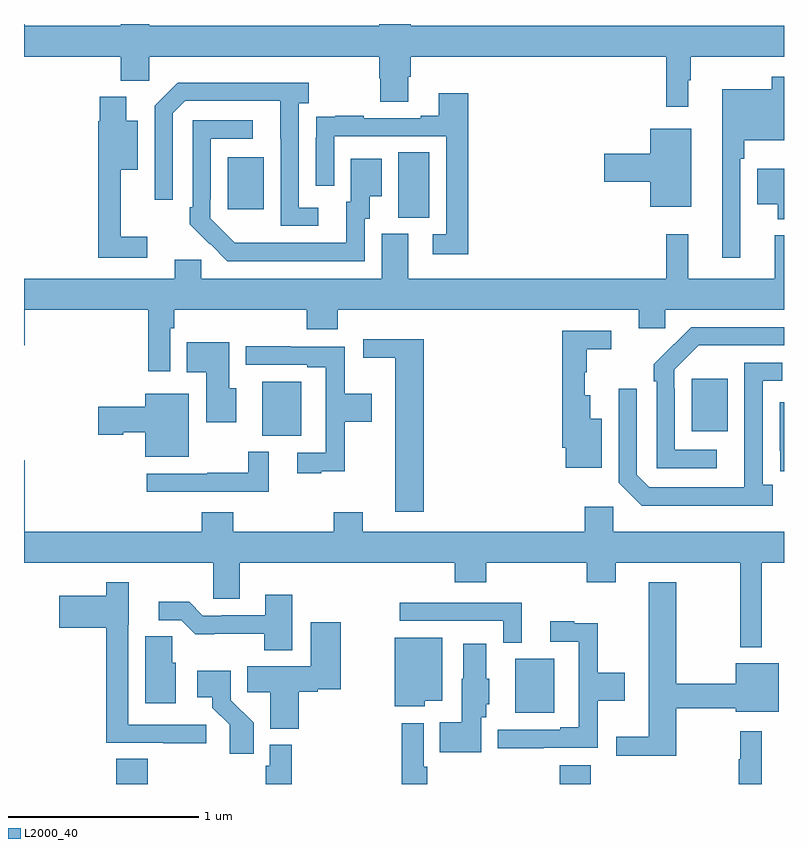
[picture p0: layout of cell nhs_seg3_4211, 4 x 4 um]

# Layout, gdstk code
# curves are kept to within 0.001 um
import gdstk
lib = gdstk.Library(unit=1e-6, precision=1e-09)
def R(c, l, rs):  # rectangles x0, y0, x1, y1
    for r in rs: c.add(gdstk.rectangle(r[:2], r[2:], *l))
def P(c, l, *ps):  # polygons
    for p in ps: c.add(gdstk.Polygon(p, *l))
L2000_40 = (2000, 40)

nhs_seg3_4211 = lib.new_cell('nhs_seg3_4211')
R(nhs_seg3_4211, L2000_40, [(333.485,718.4,333.65,718.532), (335.819,718.4,335.984,718.498), (335.585,718.775,335.791,719.059), (334.253,720.233,334.459,720.517), (336.515,720.257,336.703,720.532), (334.97,721.381,335.134,721.724), (334.073,721.425,334.261,721.699)])
P(nhs_seg3_4211, L2000_40, [(336.496,722.105),(336.508,722.105),(336.508,722.228),(337,722.228),(337,722.392),(335.036,722.392),(335.036,722.4),(334.871,722.4),(334.871,722.392),(333.66,722.392),(333.66,722.4),(333.509,722.4),(333.509,722.392),(333.004,722.392),(333.004,722.4),(333,722.4),(333,722.228),(333.509,722.228),(333.509,722.102),(333.66,722.102),(333.66,722.228),(334.871,722.228),(334.871,722.115),(334.876,722.115),(334.876,721.99),(335.023,721.99),(335.023,722.122),(335.036,722.122),(335.036,722.228),(336.379,722.228),(336.379,721.965),(336.496,721.965)],
  [(336.771,721.691),(336.791,721.691),(336.791,721.787),(337,721.787),(337,722.122),(336.936,722.122),(336.936,722.056),(336.674,722.056),(336.674,721.17),(336.771,721.17)],
  [(334.549,721.434),(334.446,721.434),(334.446,721.982),(334.498,721.982),(334.498,722.092),(333.808,722.092),(333.687,721.971),(333.687,721.476),(333.783,721.476),(333.783,721.929),(333.849,721.995),(334.349,721.995),(334.35,721.338),(334.549,721.338)],
  [(335.339,722.035),(335.183,722.035),(335.183,721.918),(335.087,721.918),(335.087,721.905),(334.787,721.905),(334.787,721.918),(334.639,721.918),(334.639,721.911),(334.537,721.911),(334.537,721.802),(334.536,721.802),(334.536,721.548),(334.632,721.548),(334.632,721.809),(335.223,721.809),(335.223,721.293),(335.151,721.293),(335.151,721.188),(335.339,721.188)],
  [(333.649,721.279),(333.509,721.279),(333.509,721.634),(333.598,721.634),(333.598,721.891),(333.538,721.891),(333.538,722.017),(333.398,722.017),(333.398,721.887),(333.391,721.887),(333.391,721.17),(333.649,721.17)],
  [(334.794,721.374),(334.819,721.374),(334.819,721.493),(334.882,721.493),(334.882,721.69),(334.721,721.69),(334.721,721.464),(334.697,721.464),(334.697,721.248),(334.11,721.249),(333.981,721.377),(333.981,721.477),(333.984,721.477),(333.984,721.797),(334.204,721.797),(334.204,721.893),(333.888,721.893),(333.888,721.435),(333.873,721.435),(333.873,721.347),(334.07,721.152),(334.794,721.152)],
  [(336.511,721.849),(336.296,721.849),(336.296,721.718),(336.054,721.718),(336.054,721.571),(336.296,721.571),(336.296,721.439),(336.511,721.439)],
  [(337,721.639),(336.86,721.639),(336.86,721.451),(336.968,721.451),(336.968,721.373),(337,721.373)],
  [(333.771,720.8),(333.791,720.8),(333.791,720.896),(334.487,720.896),(334.487,720.794),(334.652,720.794),(334.652,720.896),(336.236,720.896),(336.236,720.798),(336.375,720.798),(336.375,720.896),(337,720.896),(337,721.288),(336.95,721.288),(336.95,721.06),(336.497,721.06),(336.497,721.294),(336.379,721.294),(336.379,721.06),(335.023,721.06),(335.023,721.296),(334.883,721.296),(334.883,721.06),(333.933,721.06),(333.933,721.158),(333.794,721.158),(333.794,721.06),(333,721.06),(333,720.708),(333.004,720.708),(333.004,720.896),(333.655,720.896),(333.655,720.573),(333.771,720.573)],
  [(336.646,720.159),(336.426,720.159),(336.426,720.479),(336.423,720.479),(336.423,720.579),(336.552,720.708),(337,720.708),(337,720.804),(336.512,720.804),(336.315,720.609),(336.315,720.521),(336.33,720.521),(336.33,720.063),(336.646,720.063)],
  [(336.04,720.322),(335.98,720.322),(335.98,720.445),(335.951,720.445),(335.951,720.567),(335.962,720.567),(335.962,720.688),(336.091,720.688),(336.091,720.786),(335.833,720.786),(335.833,720.169),(335.852,720.169),(335.852,720.065),(336.04,720.065)],
  [(335.105,720.742),(334.785,720.742),(334.785,720.644),(334.955,720.644),(334.955,719.832),(335.105,719.832)],
  [(334.117,720.483),(334.081,720.483),(334.081,720.724),(333.856,720.724),(333.856,720.566),(333.959,720.566),(333.959,720.305),(334.117,720.305)],
  [(334.565,720.047),(334.688,720.047),(334.688,720.307),(334.831,720.307),(334.831,720.454),(334.688,720.454),(334.688,720.702),(334.403,720.702),(334.403,720.704),(334.166,720.704),(334.166,720.606),(334.49,720.606),(334.49,720.594),(334.587,720.594),(334.587,720.144),(334.437,720.144),(334.437,720.036),(334.565,720.036)],
  [(336.94,719.974),(336.888,719.974),(336.888,720.522),(336.991,720.522),(336.991,720.618),(336.792,720.618),(336.791,719.961),(336.291,719.961),(336.225,720.027),(336.225,720.481),(336.129,720.481),(336.129,719.985),(336.25,719.864),(336.94,719.864)],
  [(333.868,720.454),(333.638,720.454),(333.638,720.386),(333.39,720.386),(333.39,720.239),(333.522,720.239),(333.522,720.251),(333.638,720.251),(333.638,720.122),(333.868,720.122)],
  [(337,720.409),(336.978,720.409),(336.978,720.154),(336.979,720.154),(336.979,720.045),(337,720.045)],
  [(334.288,720.148),(334.179,720.148),(334.179,720.038),(333.964,720.038),(333.964,720.033),(333.645,720.033),(333.645,719.937),(334.288,719.937)],
  [(334.783,719.83),(334.631,719.83),(334.631,719.728),(334.1,719.728),(334.1,719.83),(333.935,719.83),(333.935,719.728),(333.004,719.728),(333.004,720.103),(333,720.103),(333,719.564),(333.996,719.564),(333.996,719.374),(334.135,719.374),(334.135,719.564),(335.267,719.564),(335.267,719.462),(335.432,719.462),(335.432,719.564),(335.963,719.564),(335.963,719.462),(336.115,719.462),(336.115,719.564),(336.769,719.564),(336.769,719.12),(336.883,719.12),(336.883,719.564),(337,719.564),(337,719.728),(336.102,719.728),(336.102,719.86),(335.951,719.86),(335.951,719.728),(334.783,719.728)],
  [(336.432,718.8),(336.746,718.8),(336.746,718.781),(336.973,718.781),(336.973,719.035),(336.746,719.035),(336.746,718.928),(336.432,718.928),(336.432,719.461),(336.287,719.461),(336.287,718.649),(336.117,718.649),(336.117,718.55),(336.432,718.55)],
  [(333.958,718.713),(333.549,718.713),(333.549,719.238),(333.55,719.238),(333.55,719.461),(333.433,719.461),(333.433,719.392),(333.186,719.392),(333.186,719.222),(333.433,719.222),(333.433,718.617),(333.733,718.617),(333.733,718.615),(333.958,718.615)],
  [(334.411,719.395),(334.271,719.395),(334.271,719.289),(334.042,719.289),(334.042,719.286),(333.942,719.286),(333.869,719.359),(333.708,719.359),(333.708,719.262),(333.828,719.262),(333.901,719.189),(334.264,719.19),(334.264,719.105),(334.411,719.105)],
  [(335.62,719.355),(334.977,719.355),(334.977,719.259),(335.523,719.259),(335.523,719.144),(335.62,719.144)],
  [(335.735,718.59),(336.02,718.59),(336.02,718.838),(336.163,718.838),(336.163,718.986),(336.02,718.986),(336.02,719.246),(335.897,719.246),(335.897,719.257),(335.769,719.257),(335.769,719.148),(335.919,719.148),(335.919,718.699),(335.822,718.699),(335.822,718.686),(335.493,718.686),(335.493,718.589),(335.735,718.589)],
  [(334.445,718.886),(334.545,718.886),(334.545,718.898),(334.666,718.898),(334.666,719.251),(334.508,719.251),(334.508,719.02),(334.174,719.02),(334.174,718.882),(334.295,718.882),(334.295,718.691),(334.445,718.691)],
  [(333.799,719.037),(333.78,719.037),(333.78,719.177),(333.638,719.177),(333.638,718.824),(333.799,718.824)],
  [(335.11,718.838),(335.2,718.838),(335.2,719.17),(334.952,719.17),(334.952,718.808),(335.11,718.808)],
  [(335.407,718.752),(335.434,718.752),(335.434,718.821),(335.449,718.821),(335.449,718.953),(335.434,718.953),(335.434,719.137),(335.312,719.137),(335.312,718.953),(335.303,718.953),(335.303,718.726),(335.188,718.726),(335.188,718.568),(335.407,718.568)],
  [(334.208,718.722),(334.089,718.841),(334.089,718.996),(333.912,718.996),(333.912,718.856),(333.992,718.856),(333.992,718.801),(334.083,718.711),(334.083,718.56),(334.208,718.56)],
  [(335.123,718.492),(335.103,718.492),(335.103,718.72),(334.987,718.72),(334.987,718.4),(335.123,718.4)],
  [(336.883,718.678),(336.769,718.678),(336.769,718.529),(336.762,718.529),(336.762,718.4),(336.883,718.4)],
  [(334.409,718.606),(334.293,718.606),(334.293,718.497),(334.273,718.497),(334.273,718.4),(334.409,718.4)])

lib.write_gds('nhs_seg3_4211.gds')
